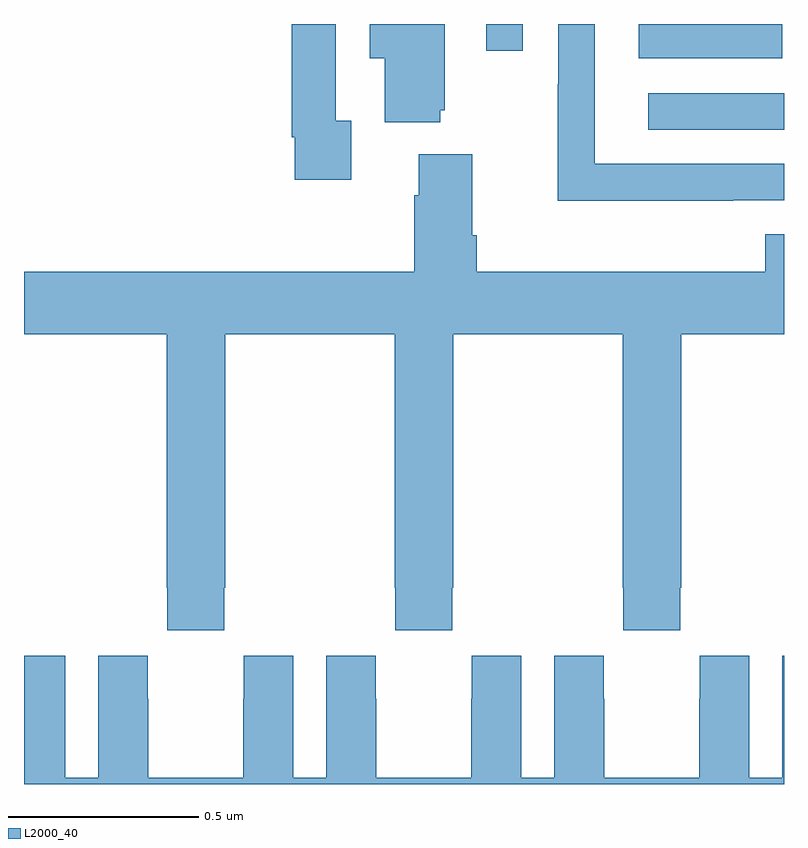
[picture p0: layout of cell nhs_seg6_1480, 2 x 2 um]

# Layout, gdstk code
import gdstk
lib = gdstk.Library(unit=1e-6, precision=1e-09)
def R(c, l, rs):  # rectangles x0, y0, x1, y1
    for r in rs: c.add(gdstk.rectangle(r[:2], r[2:], *l))
def P(c, l, *ps):  # polygons
    for p in ps: c.add(gdstk.Polygon(p, *l))
L2000_40 = (2000, 40)

nhs_seg6_1480 = lib.new_cell('nhs_seg6_1480')
R(nhs_seg6_1480, L2000_40, [(131.643,933.222,132,933.318), (131.618,933.41,131.996,933.5), (131.217,933.429,131.313,933.5)])
P(nhs_seg6_1480, L2000_40, [(131.096,933.273),(131.107,933.273),(131.107,933.5),(130.91,933.5),(130.91,933.41),(130.949,933.41),(130.949,933.242),(131.096,933.242)],
  [(130.861,933.246),(130.821,933.246),(130.821,933.5),(130.705,933.5),(130.705,933.202),(130.713,933.202),(130.713,933.09),(130.861,933.09)],
  [(131.867,933.036),(132,933.036),(132,933.132),(131.502,933.132),(131.502,933.5),(131.406,933.5),(131.406,933.341),(131.404,933.341),(131.404,933.035),(131.867,933.035)],
  [(130.527,932.017),(130.53,932.017),(130.53,932.684),(130.975,932.684),(130.975,932.017),(130.977,932.017),(130.977,931.905),(131.127,931.905),(131.127,932.017),(131.13,932.017),(131.13,932.684),(131.575,932.684),(131.575,932.017),(131.577,932.017),(131.577,931.905),(131.727,931.905),(131.727,932.017),(131.73,932.017),(131.73,932.684),(132,932.684),(132,932.947),(131.951,932.947),(131.951,932.848),(131.192,932.848),(131.192,932.944),(131.179,932.944),(131.179,933.157),(131.039,933.157),(131.039,933.05),(131.027,933.05),(131.027,932.848),(130,932.848),(130,932.684),(130.375,932.684),(130.375,932.017),(130.377,932.017),(130.377,931.905),(130.527,931.905)],
  [(132,931.837),(131.996,931.837),(131.996,931.516),(131.908,931.516),(131.908,931.837),(131.778,931.837),(131.778,931.724),(131.777,931.724),(131.777,931.516),(131.527,931.516),(131.527,931.724),(131.526,931.724),(131.526,931.837),(131.396,931.837),(131.396,931.516),(131.308,931.516),(131.308,931.837),(131.178,931.837),(131.178,931.724),(131.177,931.724),(131.177,931.516),(130.927,931.516),(130.927,931.724),(130.926,931.724),(130.926,931.837),(130.796,931.837),(130.796,931.516),(130.708,931.516),(130.708,931.837),(130.578,931.837),(130.578,931.724),(130.577,931.724),(130.577,931.516),(130.327,931.516),(130.327,931.724),(130.326,931.724),(130.326,931.837),(130.196,931.837),(130.196,931.516),(130.108,931.516),(130.108,931.837),(130,931.837),(130,931.5),(132,931.5)])

lib.write_gds('nhs_seg6_1480.gds')
